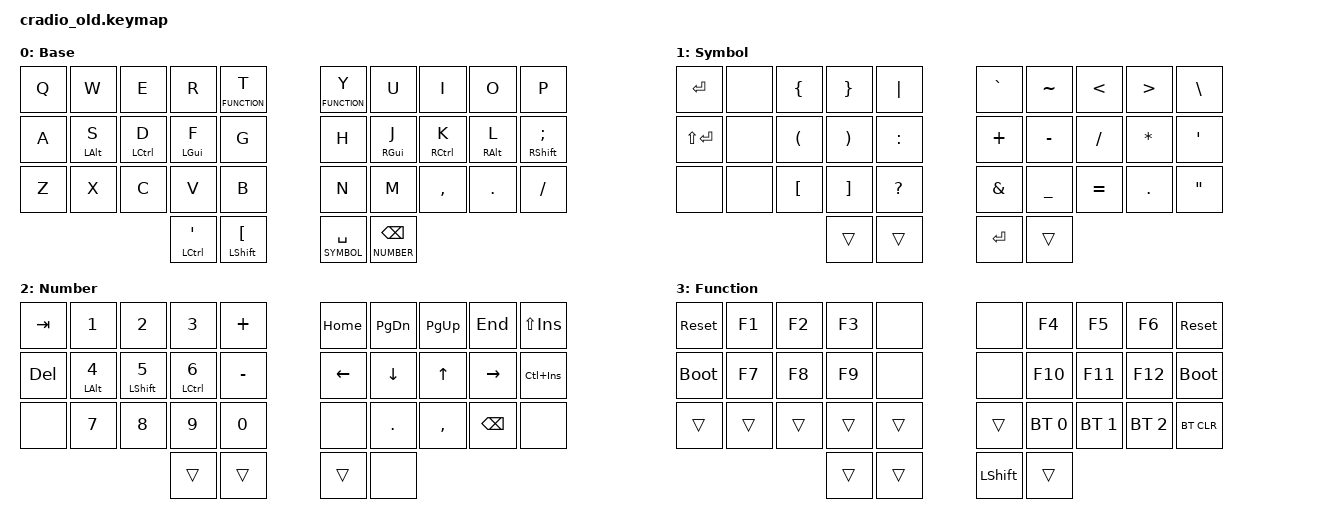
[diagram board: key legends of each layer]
// Версия 2.0 
// В основе данной раскладки лежит раскладка от Дмитрия Ковалева
// Ссылка на раскладку: https://github.com/devpew/charybdis-3-6-dongle-prospector-studio.git

#include <behaviors.dtsi>
#include <dt-bindings/zmk/keys.h>
#include <dt-bindings/zmk/bt.h>

// Слои
#define BASE 0
#define SYMBOL 1
#define NUMBER 2
#define FUNCTION 3
//s #define GAME 4
//#define EXTGAME 5


// Key position definitions for Ferris Sweep (34 keys)
#define KEYS_L 0 1 2 3 4 10 11 12 13 14 20 21 22 23 24
#define KEYS_R 5 6 7 8 9 15 16 17 18 19 25 26 27 28 29
#define THUMBS 30 31 32 33

&sk {
    release-after-ms = <600>;
    quick-release;
};

&sl {
    ignore-modifiers;
};

&caps_word {
    /delete-property/ ignore-modifiers;
};

/ {
    behaviors {
        // Hot-tap
        ht: hold_tap {
            compatible = "zmk,behavior-hold-tap";
            #binding-cells = <2>;
            flavor = "tap-preferred";
            tapping-term-ms = <220>;
            quick-tap-ms = <150>;
            require-prior-idle-ms = <100>;
            bindings = <&kp>, <&kp>;
        };

        // Behavior для LCTRL
        // crtlsymb: mod-tap {
        //     compatible = "zmk,behavior-hold-tap";
        //     label = "MOD_TAP_SYMBOL_LCTRL";
        //     #binding-cells = <2>;
        //     flavor = "balanced";
        //     tapping-term-ms = <200>;
        //     quick-tap-ms = <150>;
        //     require-prior-idle-ms = <125>;
        //     bindings = <&sl SYMBOL>, <&kp LCTRL>;
        // };

        // Left hand home row mods
        hml: hml {
            compatible = "zmk,behavior-hold-tap";
            #binding-cells = <2>;
            flavor = "balanced";
            tapping-term-ms = <280>;
            quick-tap-ms = <175>;
            require-prior-idle-ms = <150>;
            bindings = <&kp>, <&kp>;
            hold-trigger-key-positions = <KEYS_R THUMBS>;
            hold-trigger-on-release;
        };

        // Right hand home row mods
        hmr: hmr {
            compatible = "zmk,behavior-hold-tap";
            #binding-cells = <2>;
            flavor = "balanced";
            tapping-term-ms = <280>;
            quick-tap-ms = <175>;
            require-prior-idle-ms = <150>;
            bindings = <&kp>, <&kp>;
            hold-trigger-key-positions = <KEYS_L THUMBS>;
            hold-trigger-on-release;
        };

        // Left hand home row mods for number layer (no idle requirement)
        hml_s: hml_s {
            compatible = "zmk,behavior-hold-tap";
            #binding-cells = <2>;
            flavor = "balanced";
            tapping-term-ms = <280>;
            quick-tap-ms = <175>;
            require-prior-idle-ms = <0>;
            bindings = <&kp>, <&kp>;
            hold-trigger-key-positions = <KEYS_R THUMBS>;
            hold-trigger-on-release;
        };

        // Right hand home row mods for number layer (no idle requirement)
        hmr_s: hmr_s {
            compatible = "zmk,behavior-hold-tap";
            #binding-cells = <2>;
            flavor = "balanced";
            tapping-term-ms = <280>;
            quick-tap-ms = <175>;
            require-prior-idle-ms = <0>;
            bindings = <&kp>, <&kp>;
            hold-trigger-key-positions = <KEYS_L THUMBS>;
            hold-trigger-on-release;
        };

        // Smart shift: tap for sticky shift, double tap for caps word
        smart_shift: smart_shift {
            compatible = "zmk,behavior-mod-morph";
            #binding-cells = <0>;
            bindings = <&sk LSHIFT>, <&caps_word>;
            mods = <(MOD_LSFT)>;
        };
    };

    combos {
        compatible = "zmk,combos";
        timeout-ms = <50>;
        require-prior-idle-ms = <150>;

        // ESC on W+E
        combo_esc {
            key-positions = <1 2>;
            bindings = <&kp ESCAPE>;
        };

        // TAB on E+R
        combo_tab {
            key-positions = <2 3>;
            bindings = <&kp TAB>;
        };

        // Enter on F+D
        combo_enter {
            key-positions = <12 13>;
            bindings = <&kp RET>;
        };

        // CTRL+Backspace on S+D
        combo_ctrl_bspc {
            key-positions = <11 12>;
            bindings = <&kp LC(BSPC)>;
        };

        // Function layer on M + ,
        combo_fn {
            key-positions = <27 28>;
            bindings = <&sl FUNCTION>;
        };

        // Bootloader on inner thumb keys (hold 2s)
        combo_bootloader {
            key-positions = <31 32>;
            bindings = <&bootloader>;
            timeout-ms = <100>;
            require-prior-idle-ms = <2000>;
        };

        // Разблокировка для zmk studio
        // combo_unlock {
        //     key-positions = <0 4>;
        //     bindings = <&studio_unlock>;
        // };

        combo_normal {
            key-positions = <7 8>;
            bindings = <&to BASE>;
        };

    };


    keymap {                    
        compatible = "zmk,keymap";

        base_layer {
            display-name = "Base";
            bindings = <
        //   ╭──────────┬──────────┬──────────┬──────────┬──────────╮               ╭──────────┬──────────┬──────────┬──────────┬──────────╮
        //   │  Q       │  W       │  E       │  R       │  T       │               │  Y       │  U       │  I       │  O       │  P       │
        //   ├──────────┼──────────┼──────────┼──────────┼──────────┤               ├──────────┼──────────┼──────────┼──────────┼──────────┤
        //   │  A       │  S(LALT) │  D(LCTRL)│  F(LGUI) │  G       │               │  H       │  J(RGUI) │  K(RCTRL)│  L(RALT) │ ;(RSHIFT)│
        //   ├──────────┼──────────┼──────────┼──────────┼──────────┤               ├──────────┼──────────┼──────────┼──────────┼──────────┤
        //   │  Z       │  X       │  C       │  V       │  B       │               │  N       │  M       │ ,        │ .        │ /        │
        //   ╰──────────┴──────────┴──────────┼──────────┼──────────┤               ├──────────┼──────────┼──────────┴──────────┴──────────╯
        //                                    |  LCTRL Э |  LSHIFT Х|               |  SPACE   |   BSPC   |   
        //                                    |          |          |               |  &SYMBOL | &NUMBER  |
        //                                    ╰──────────┴──────────╯               ╰──────────┴──────────╯

        
            &kp Q   &kp W         &kp E          &kp R              &lt FUNCTION T   &lt FUNCTION Y        &kp U          &kp I           &kp O         &kp P
            &kp A   &hml LALT S   &hml LCTRL D   &hml LGUI F        &kp G            &kp H        &hmr RGUI J    &hmr RCTRL  K   &hmr RALT L   &hmr RSHIFT SEMI
            &kp Z   &kp X         &kp C          &kp V              &kp B            &kp N        &kp M          &kp COMMA       &kp DOT       &kp FSLH
                                            &mt LCTRL SQT    &mt LSHFT LBKT      &lt SYMBOL SPACE    &lt NUMBER BSPC

            >;
        };

        symbol_layer {
            display-name = "Symbol";
            bindings = <
        //╭──────────┬──────────┬──────────┬──────────┬──────────╮   ╭──────────┬──────────┬──────────┬──────────┬──────────╮
        //│ ENTER    │          │  {       │  }       │  |       │   │  `       │  ~       │  <       │  >       │  \       │
        //├──────────┼──────────┼──────────┼──────────┼──────────┤   ├──────────┼──────────┼──────────┼──────────┼──────────┤
        //│LS(ENTER) │          │  (       │  )       │  :       │   │  +       │  -       │  /       │  *       │  '       │
        //├──────────┼──────────┼──────────┼──────────┼──────────┤   ├──────────┼──────────┼──────────┼──────────┼──────────┤
        //│          │          │  [       │  ]       │  ?       │   │  &       │  _       │  =       │  .       │  "       │
        //╰──────────┴──────────┴──────────┼──────────┼──────────┤   ├──────────┼──────────┼──────────┴──────────┴──────────╯  
        //                                 |          |          |   |   (*)    |          |
        //                                 ╰──────────┴──────────╯   ╰──────────┴──────────╯

            &kp RET      &none     &kp LBRC   &kp RBRC   &kp PIPE       &kp GRAVE  &kp TILDE  &kp LT     &kp GT     &kp BSLH
            &kp LS(RET)  &none     &kp LPAR   &kp RPAR   &kp COLON      &kp PLUS   &kp MINUS  &kp FSLH   &kp ASTRK  &kp SQT
            &none        &none     &kp LBKT   &kp RBKT   &kp QMARK      &kp AMPS   &kp UNDER  &kp EQUAL  &kp DOT    &kp DQT        
                                            &trans     &trans         &kp RET    &trans
            >;
        };

        number_layer {
            display-name = "Number";
            bindings = <
        //╭──────────┬──────────┬──────────┬──────────┬──────────╮                              ╭──────────┬──────────┬──────────┬──────────┬──────────╮
        //│ TAB      │  1       │  2       │  3       │    +     │                              │ HOME     │ PG_DN    │ PG_UP    │ END      │SHIFT+INS │
        //├──────────┼──────────┼──────────┼──────────┼──────────┤                              ├──────────┼──────────┼──────────┼──────────┼──────────┤
        //│ DELETE   │  4       │  5       │  6       │    -     │                              │ LEFT     │ DOWN     │  UP      |  RIGHT   │ CTRL+INS │
        //├──────────┼──────────┼──────────┼──────────┼──────────┤                              ├──────────┼──────────┼──────────┼──────────┼──────────┤
        //│          │  7       │  8       │  9       │    0     │                              │          │     .    │     ,    │   BSPC   │          │
        //╰──────────┴──────────┴──────────┼──────────┼──────────┤                              ├──────────┼──────────┼──────────┴──────────┴──────────╯
        //                                 |  LCTRL   |  LSHIFT  |                              |          |    (*)   |                                                                                                   
        //                                 ╰──────────┴──────────╯                              ╰──────────┴──────────╯        

            &kp TAB     &kp N1            &kp N2            &kp N3           &kp PLUS            &kp HOME         &kp PG_DN         &kp PG_UP         &kp END             &kp LS(INS)
            &kp DEL     &hml_s LALT N4    &hml_s LSHFT N5   &hml_s LCTRL N6  &kp MINUS           &kp LEFT         &kp DOWN          &kp UP            &kp RIGHT           &kp LC(INS)
            &none       &kp N7            &kp N8            &kp N9           &kp N0              &none            &kp DOT           &kp COMMA         &kp BSPC            &none
                                                            &trans           &trans              &trans           &none
        
            >;
        };

        function_layer {
            display-name = "Function";
            bindings = <


        //╭──────────┬──────────┬──────────┬──────────┬──────────╮       ╭──────────┬──────────┬──────────┬──────────┬──────────╮
        //│ RESET    │  F1      │  F2      │  F3      │   (*)    │       │          │ F4       │ F5       │ F6       │ RESET    │
        //├──────────┼──────────┼──────────┼──────────┼──────────┤       ├──────────┼──────────┼──────────┼──────────┼──────────┤
        //│BOOTLOADER│  F7      │  F8      │  F9      │          │       │          │ F10      │  F11     |  F12     │BOOTLOADER│
        //├──────────┼──────────┼──────────┼──────────┼──────────┤       ├──────────┼──────────┼──────────┼──────────┼──────────┤
        //│          │          │          │          │          │       │          │ PROFILE0 │ PROFILE1 │ PROFILE2 │ CLEAR BT │
        //╰──────────┴──────────┴──────────┼──────────┼──────────┤       ├──────────┼──────────┼──────────┴──────────┴──────────╯
        //                                 |          |          |       |  LSHIFT  |          |                                                                                                   
        //                                 ╰──────────┴──────────╯       ╰──────────┴──────────╯ 
          
           &sys_reset   &kp F1     &kp F2     &kp F3     &none            &none       &kp F4        &kp F5        &kp F6        &sys_reset
           &bootloader  &kp F7     &kp F8     &kp F9     &none            &none       &kp F10       &kp F11       &kp F12       &bootloader
           &trans       &trans     &trans     &trans     &trans           &trans      &bt BT_SEL 0  &bt BT_SEL 1  &bt BT_SEL 2  &bt BT_CLR
                                              &trans     &trans           &kp LSHIFT  &trans
            >;
        };

        
        // TODO: сделать 2 слоя для игр 
        //game_layer {S
        //    display-name = "Game";
        //    bindings = <
        //   ╭──────────┬──────────┬──────────┬──────────┬──────────╮               ╭──────────┬──────────┬──────────┬──────────┬──────────╮
        //   │  TAB     |  Q       │  W       │  E       │  R       │               │          │  U       │  I       │  O       │  P       │
        //   ├──────────┼──────────┼──────────┼──────────┼──────────┤               ├──────────┼──────────┼──────────┼──────────┼──────────┤
        //   │  SHIFT   |  A       │  S       │  D       │  F       │               │  H       │  J(RGUI) │  K(RCTRL)│  L(RALT) │ ;        │
        //   ├──────────┼──────────┼──────────┼──────────┼──────────┤               ├──────────┼──────────┼──────────┼──────────┼──────────┤
        //   │  LCTRL   |  Z       │  X       │  C       │  M       │               │  N       │  M       │ ,        │ .        │ /        │
        //   ╰──────────┴──────────┴──────────┼──────────┼──────────┤               ├──────────┼──────────┼──────────┴──────────┴──────────╯
        //                                    |  G       |  SPACE   |               |  SPACE   |   BSPC   |   
        //                                    |  &SYMBOL |          |               |          | &NUMBER  |
        //                                    ╰──────────┴──────────╯               ╰──────────┴──────────╯
        //
        //    &kp Q   &kp W         &kp E          &kp R              &kp T            &kp Y        &kp U          &kp I           &kp O         &kp P
        //    &kp A   &hml LALT S   &hml LCTRL D   &hml LGUI F        &kp G            &kp H        &hmr RGUI J    &hmr RCTRL  K   &hmr RALT L   &kp SEMI
        //    &kp Z   &mt LC(X) X   &mt LC(C) C    &mt LC(V) V        &kp B            &kp N        &kp M          &kp COMMA       &kp DOT       &kp FSLH
        //                                         &mo SYMBOL LCTRL   &kp LSHIFT       &kp SPACE    &lt NUMBER BSPC
        //
        //    >;
        //};

        // TODO: сделать слой для ручки
        // TODO: Основные требования:
        // TODO:    1. Клавиши: пробел (нажатие), ...
        // TODO:
        // TODO:
        // TODO:
        //game_layer {S
        //    display-name = "Game";
        //    bindings = <
        //   ╭──────────┬──────────┬──────────┬──────────┬──────────╮               ╭──────────┬──────────┬──────────┬──────────┬──────────╮
        //   │  TAB     |  Q       │  W       │  E       │  R       │               │          │  U       │  I       │  O       │  P       │
        //   ├──────────┼──────────┼──────────┼──────────┼──────────┤               ├──────────┼──────────┼──────────┼──────────┼──────────┤
        //   │  SHIFT   |  A       │  S       │  D       │  F       │               │  H       │  J(RGUI) │  K(RCTRL)│  L(RALT) │ ;        │
        //   ├──────────┼──────────┼──────────┼──────────┼──────────┤               ├──────────┼──────────┼──────────┼──────────┼──────────┤
        //   │  LCTRL   |  Z       │  X       │  C       │  M       │               │  N       │  M       │ ,        │ .        │ /        │
        //   ╰──────────┴──────────┴──────────┼──────────┼──────────┤               ├──────────┼──────────┼──────────┴──────────┴──────────╯
        //                                    |  G       |  SPACE   |               |  SPACE   |   BSPC   |   
        //                                    |  &SYMBOL |          |               |          | &NUMBER  |
        //                                    ╰──────────┴──────────╯               ╰──────────┴──────────╯
        //
        //    &kp Q   &kp W         &kp E          &kp R              &kp T            &kp Y        &kp U          &kp I           &kp O         &kp P
        //    &kp A   &hml LALT S   &hml LCTRL D   &hml LGUI F        &kp G            &kp H        &hmr RGUI J    &hmr RCTRL  K   &hmr RALT L   &kp SEMI
        //    &kp Z   &mt LC(X) X   &mt LC(C) C    &mt LC(V) V        &kp B            &kp N        &kp M          &kp COMMA       &kp DOT       &kp FSLH
        //                                         &mo SYMBOL LCTRL   &kp LSHIFT       &kp SPACE    &lt NUMBER BSPC
        //
        //    >;
        //};
    };
};
